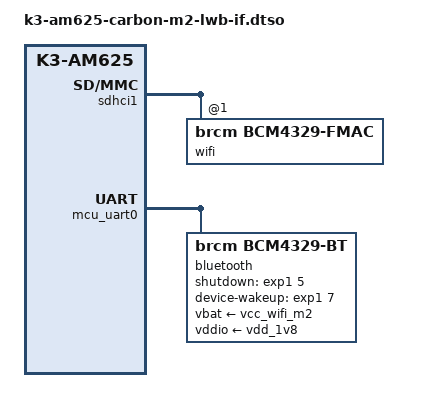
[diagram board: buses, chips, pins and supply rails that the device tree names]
// SPDX-License-Identifier: GPL-2.0
/*
 * M.2 SDIO LWBxx & IFxxx module
 *
 * Copyright (C) 2024 Ezurio LLC
 */

/dts-v1/;
/plugin/;

#include "k3-am625-carbon-m2.dtsi"

&sdhci1 { /* SDIO_A uSD / M.2_SDIO */
	#address-cells = <1>;
	#size-cells = <0>;

	wifi@1 {
		reg = <1>;
		compatible = "brcm,bcm4329-fmac";
	};
};

&mcu_uart0 {
	bluetooth {
		compatible = "brcm,bcm4329-bt";
		vbat-supply = <&vcc_wifi_m2>;
		vddio-supply = <&vdd_1v8>;
		brcm,requires-autobaud-mode;
		max-speed = <921600>;
		shutdown-gpios = <&exp1 5 GPIO_ACTIVE_HIGH>;
		device-wakeup-gpios = <&exp1 7 GPIO_ACTIVE_HIGH>;
	};
};
